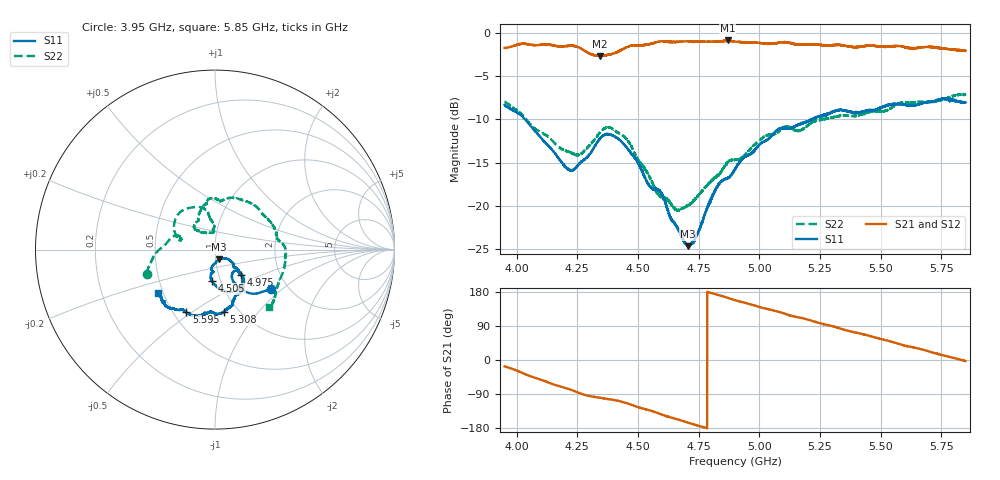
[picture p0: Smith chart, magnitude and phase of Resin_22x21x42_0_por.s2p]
# GHZ S RI R 50.000000000000
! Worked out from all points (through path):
!   4501 points, 3.95 GHz to 5.85 GHz, reference 50 ohm
!   highest |S21| = -0.87 dB at 4.869 GHz (marker M1); lowest = -2.7 dB at 4.342 GHz (marker M2)
!   lowest |S11| = -24.7 dB at 4.706 GHz (marker M3), VSWR 1.12, Z = 52 - j5.61 ohm
!   |S11| at or under -10 dB: 4.034 GHz to 5.217 GHz (1.183 GHz wide, 25.6 % of centre); 5.217138 GHz to 5.217855 GHz (717.8 kHz wide, 0.0138 % of centre); 5.218197 GHz to 5.219731 GHz (1.534 MHz wide, 0.0294 % of centre)
!   |S22| runs from -20.6 to -7.0 dB; largest |S21 - S12| = 0.029
!   S11 on the Smith chart (normalised r, x): 3.95 GHz: 1.64, -0.85; 4.505 GHz: 0.91, -0.33; 4.975 GHz: 1.28, -0.38; 5.308 GHz: 0.85, -0.68; 5.595 GHz: 0.58, -0.48; 5.85 GHz: 0.47, -0.27
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3.95  0.3139 -0.2194  0.783 -0.2402  0.7973 -0.2421  -0.3764 -0.1341
4.016289  0.2284 -0.2447  0.7299 -0.4604  0.7214 -0.4649  -0.3398 -0.035
4.137889  0.1099 -0.1861  0.4115 -0.7482  0.4191 -0.7521  -0.2334 0.0741
4.217267  0.099 -0.1264  0.1878 -0.8213  0.1819 -0.8219  -0.1942 0.0676
4.267089  0.1308 -0.1231  0.00994 -0.8087  0.00365 -0.8071  -0.1942 0.0518
4.342244  0.1598 -0.184  -0.1232 -0.7252  -0.1187 -0.7294  -0.2281 0.1325
4.412756  0.0727 -0.2361  -0.2274 -0.7399  -0.2401 -0.7388  -0.1275 0.2348
4.5048  -0.0177 -0.1734  -0.4873 -0.6949  -0.4898 -0.6936  -0.0309 0.176
4.583756  -0.0116 -0.1231  -0.6847 -0.5663  -0.6893 -0.5666  -0.00835 0.116
4.7062  0.0227 -0.0537  -0.8655 -0.2269  -0.8629 -0.2233  -0.0379 0.0934
4.824844  0.1006 -0.0783  -0.8831 0.1129  -0.8898 0.1216  -0.1021 0.1087
4.869178  0.105 -0.0982  -0.8708 0.2461  -0.868 0.2533  -0.118 0.1354
4.9  0.1238 -0.1065  -0.8259 0.3359  -0.8237 0.3435  -0.0992 0.1555
4.974733  0.1457 -0.1426  -0.7205 0.5062  -0.7184 0.503  -0.088 0.2036
5.113222  0.1189 -0.2519  -0.444 0.7633  -0.4391 0.7706  -0.0124 0.2881
5.217089  0.0989 -0.3008  -0.2001 0.8379  -0.1968 0.8451  0.0959 0.2886
5.307867  0.0486 -0.3487  0.0279 0.8522  0.0425 0.8382  0.1962 0.2616
5.442133  -0.0398 -0.3533  0.3451 0.7683  0.3617 0.7732  0.3082 0.1545
5.533756  -0.1009 -0.3708  0.5342 0.642  0.5362 0.6287  0.3575 0.0483
5.5954  -0.1598 -0.3487  0.645 0.5251  0.6487 0.5293  0.3963 -0.0174
5.723333  -0.2351 -0.326  0.7847 0.2565  0.7777 0.2436  0.3533 -0.1927
5.85  -0.3154 -0.2404  0.7867 -0.0367  0.7984 -0.0541  0.3017 -0.3206
